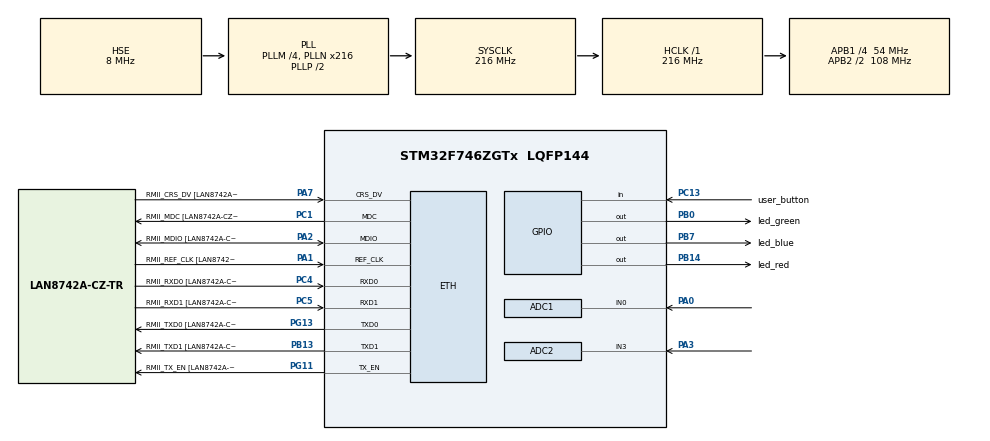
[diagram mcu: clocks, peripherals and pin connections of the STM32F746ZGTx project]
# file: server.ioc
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ADC1.Channel-0\#ChannelRegularConversion=ADC_CHANNEL_0
ADC1.NbrOfConversionFlag=1
ADC1.Rank-0\#ChannelRegularConversion=1
ADC1.SamplingTime-0\#ChannelRegularConversion=ADC_SAMPLETIME_3CYCLES
ADC1.master=1
ADC2.Channel-0\#ChannelRegularConversion=ADC_CHANNEL_3
ADC2.NbrOfConversionFlag=1
ADC2.Rank-0\#ChannelRegularConversion=1
ADC2.SamplingTime-0\#ChannelRegularConversion=ADC_SAMPLETIME_3CYCLES
CORTEX_M7.CPU_DCache=Enabled
CORTEX_M7.CPU_ICache=Enabled
CORTEX_M7.PREFETCH_ENABLE=1
ETH.MediaInterface=HAL_ETH_RMII_MODE
ETH.PHY_Name=LAN8742A_PHY_ADDRESS
ETH.PHY_Value=0
ETH.PhyAddress=0
LWIP.BSP.number=1
LWIP.GATEWAY_ADDRESS=192.168.001.001
LWIP.IP_ADDRESS=192.168.001.237
LWIP.LWIP_DHCP=0
LWIP.MEM_SIZE=10240
LWIP.NETMASK_ADDRESS=255.255.255.000
LWIP.Version=v2.1.2_Cube
LWIP0.BSP.STBoard=false
LWIP0.BSP.api=BSP_COMPONENT_DRIVER
LWIP0.BSP.component=LAN8742
LWIP0.BSP.instance=LAN8742
LWIP0.BSP.name=Driver_PHY
LWIP0.BSP.semaphore=S_LAN8742
LWIP0.BSP.solution=LAN8742
Mcu.Family=STM32F7
Mcu.Name=STM32F746ZGTx
Mcu.Package=LQFP144
NVIC.ETH_IRQn=true\:0\:0\:false\:false\:true\:true\:true\:true
NVIC.PriorityGroup=NVIC_PRIORITYGROUP_4
PA0/WKUP.Signal=ADCx_IN0
PA1.GPIO_Label=RMII_REF_CLK [LAN8742A-CZ-TR_REFCLK0]
PA1.Mode=RMII
PA1.Signal=ETH_REF_CLK
PA13.GPIO_Label=TMS
PA13.Mode=Serial_Wire
PA13.Signal=SYS_JTMS-SWDIO
PA14.GPIO_Label=TCK
PA14.Mode=Serial_Wire
PA14.Signal=SYS_JTCK-SWCLK
PA2.GPIO_Label=RMII_MDIO [LAN8742A-CZ-TR_MDIO]
PA2.Mode=RMII
PA2.Signal=ETH_MDIO
PA3.Signal=ADCx_IN3
PA7.GPIO_Label=RMII_CRS_DV [LAN8742A-CZ-TR_CRS_DV]
PA7.Mode=RMII
PA7.Signal=ETH_CRS_DV
PB0.GPIO_Label=led_green
PB0.Signal=GPIO_Output
PB13.GPIO_Label=RMII_TXD1 [LAN8742A-CZ-TR_TXD1]
PB13.Mode=RMII
PB13.Signal=ETH_TXD1
PB14.GPIO_Label=led_red
PB14.Signal=GPIO_Output
PB3.GPIO_Label=SW0
PB3.Signal=SYS_JTDO-SWO
PB7.GPIO_Label=led_blue
PB7.Signal=GPIO_Output
PC1.GPIO_Label=RMII_MDC [LAN8742A-CZ-TR_MDC]
PC1.Mode=RMII
PC1.Signal=ETH_MDC
PC13.GPIO_Label=user_button
PC13.Signal=GPIO_Input
PC14/OSC32_IN.Mode=LSE-External-Oscillator
PC14/OSC32_IN.Signal=RCC_OSC32_IN
PC15/OSC32_OUT.Mode=LSE-External-Oscillator
PC15/OSC32_OUT.Signal=RCC_OSC32_OUT
PC4.GPIO_Label=RMII_RXD0 [LAN8742A-CZ-TR_RXD0]
PC4.Mode=RMII
PC4.Signal=ETH_RXD0
PC5.GPIO_Label=RMII_RXD1 [LAN8742A-CZ-TR_RXD1]
PC5.Mode=RMII
PC5.Signal=ETH_RXD1
PG11.GPIO_Label=RMII_TX_EN [LAN8742A-CZ-TR_TXEN]
PG11.Mode=RMII
PG11.Signal=ETH_TX_EN
PG13.GPIO_Label=RMII_TXD0 [LAN8742A-CZ-TR_TXD0]
PG13.Mode=RMII
PG13.Signal=ETH_TXD0
PH0/OSC_IN.GPIO_Label=MCO [STM32F103CBT6_PA8]
PH0/OSC_IN.Mode=HSE-External-Clock-Source
PH0/OSC_IN.Signal=RCC_OSC_IN
PH1/OSC_OUT.Mode=HSE-External-Clock-Source
PH1/OSC_OUT.Signal=RCC_OSC_OUT
ProjectManager.HeapSize=0x200
ProjectManager.StackSize=0x400
ProjectManager.TargetToolchain=STM32CubeIDE
RCC.48MHZClocksFreq_Value=24000000
RCC.AHBFreq_Value=216000000
RCC.APB1CLKDivider=RCC_HCLK_DIV4
RCC.APB1Freq_Value=54000000
RCC.APB1TimFreq_Value=108000000
RCC.APB2CLKDivider=RCC_HCLK_DIV2
RCC.APB2Freq_Value=108000000
RCC.APB2TimFreq_Value=216000000
RCC.CortexFreq_Value=216000000
RCC.HCLKFreq_Value=216000000
RCC.HSE_VALUE=8000000
RCC.HSI_VALUE=16000000
RCC.PLLM=4
RCC.PLLMUL=RCC_PLL_MUL9
RCC.PLLN=216
RCC.PLLQ=3
RCC.PLLSourceVirtual=RCC_PLLSOURCE_HSE
RCC.PRESCALERUSB=RCC_USBCLKSOURCE_PLL_DIV1_5
RCC.SYSCLKFreq_VALUE=216000000
RCC.SYSCLKSource=RCC_SYSCLKSOURCE_PLLCLK
RCC.SYSCLKSourceVirtual=RCC_SYSCLKSOURCE_PLLCLK
RCC.USBFreq_Value=144000000
RCC.VCOOutputFreq_Value=432000000
SH.ADCx_IN0.0=ADC1_IN0,IN0
SH.ADCx_IN3.0=ADC2_IN3,IN3
VP_LWIP_VS_Enabled.Mode=Enabled
board=NUCLEO-F746ZG

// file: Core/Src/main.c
/* USER CODE BEGIN Header */
/**
  ******************************************************************************
  * @file           : main.c
  * @brief          : Main program body
  ******************************************************************************
  * @attention
  *
  * <h2><center>&copy; Copyright (c) 2022 STMicroelectronics.
  * All rights reserved.</center></h2>
  *
  * This software component is licensed by ST under BSD 3-Clause license,
  * the "License"; You may not use this file except in compliance with the
  * License. You may obtain a copy of the License at:
  *                        opensource.org/licenses/BSD-3-Clause
  *
  ******************************************************************************
  */
/* USER CODE END Header */
#include "main.h"
#include "lwip.h"

/* USER CODE BEGIN Includes */

#include "controller_server.h"
#include <assert.h>
#include <string.h>
#include "pages/page0.h"
#include "pages/page1.h"
#include "pages/page2.h"
#include "pages/page3.h"

/* USER CODE END Includes */

ADC_HandleTypeDef hadc1;
ADC_HandleTypeDef hadc2;

void SystemClock_Config(void);
static void MX_GPIO_Init(void);
static void MX_ADC1_Init(void);
static void MX_ADC2_Init(void);

/* USER CODE BEGIN 0 */

void update_values( void )
{
	values3[ 1 ].value.int_val = HAL_GPIO_ReadPin( user_button_GPIO_Port, user_button_Pin );

	uint32_t value;

	HAL_ADC_Start( &hadc1 );
	HAL_ADC_PollForConversion( &hadc1, 10 );
	value = HAL_ADC_GetValue( &hadc1 );
	HAL_ADC_Stop( &hadc1 );
	values3[ 2 ].value.float_val = (float)value / (float)( 1 << 12 ) * 3.3f;

	HAL_ADC_Start( &hadc2 );
	HAL_ADC_PollForConversion( &hadc2, 10 );
	value = HAL_ADC_GetValue( &hadc2 );
	HAL_ADC_Stop( &hadc2 );
	values3[ 3 ].value.float_val = (float)value / (float)( 1 << 12 ) * 3.3f;
}

/* USER CODE END 0 */

int main(void)
{

  /* Enable I-Cache---------------------------------------------------------*/
  SCB_EnableICache();

  /* Enable D-Cache---------------------------------------------------------*/
  SCB_EnableDCache();

  /* MCU Configuration--------------------------------------------------------*/

  /* Reset of all peripherals, Initializes the Flash interface and the Systick. */
  HAL_Init();

  /* Configure the system clock */
  SystemClock_Config();

  /* Initialize all configured peripherals */
  MX_GPIO_Init();
  MX_LWIP_Init();
  MX_ADC1_Init();
  MX_ADC2_Init();
  /* USER CODE BEGIN 2 */

  server_init();

  register_idle_callback( update_values );

  add_page( page0, values0, 4, page0_callback );
  add_page( page1, values1, 4, page1_callback );
  add_page( page2, values2, 4, page2_callback );
  add_page( page3, values3, 4, page3_callback );

  mainloop();

  /* USER CODE END 2 */

  /* Infinite loop */
  while (1)
  {

  }
}

void SystemClock_Config(void)
{
  RCC_OscInitTypeDef RCC_OscInitStruct = {0};
  RCC_ClkInitTypeDef RCC_ClkInitStruct = {0};

  /** Configure LSE Drive Capability
  */
  HAL_PWR_EnableBkUpAccess();

  /** Configure the main internal regulator output voltage
  */
  __HAL_RCC_PWR_CLK_ENABLE();
  __HAL_PWR_VOLTAGESCALING_CONFIG(PWR_REGULATOR_VOLTAGE_SCALE1);

  /** Initializes the RCC Oscillators according to the specified parameters
  * in the RCC_OscInitTypeDef structure.
  */
  RCC_OscInitStruct.OscillatorType = RCC_OSCILLATORTYPE_HSE;
  RCC_OscInitStruct.HSEState = RCC_HSE_BYPASS;
  RCC_OscInitStruct.PLL.PLLState = RCC_PLL_ON;
  RCC_OscInitStruct.PLL.PLLSource = RCC_PLLSOURCE_HSE;
  RCC_OscInitStruct.PLL.PLLM = 4;
  RCC_OscInitStruct.PLL.PLLN = 216;
  RCC_OscInitStruct.PLL.PLLP = RCC_PLLP_DIV2;
  RCC_OscInitStruct.PLL.PLLQ = 3;
  if (HAL_RCC_OscConfig(&RCC_OscInitStruct) != HAL_OK)
  {
    Error_Handler();
  }

  /** Activate the Over-Drive mode
  */
  if (HAL_PWREx_EnableOverDrive() != HAL_OK)
  {
    Error_Handler();
  }

  /** Initializes the CPU, AHB and APB buses clocks
  */
  RCC_ClkInitStruct.ClockType = RCC_CLOCKTYPE_HCLK|RCC_CLOCKTYPE_SYSCLK
                              |RCC_CLOCKTYPE_PCLK1|RCC_CLOCKTYPE_PCLK2;
  RCC_ClkInitStruct.SYSCLKSource = RCC_SYSCLKSOURCE_PLLCLK;
  RCC_ClkInitStruct.AHBCLKDivider = RCC_SYSCLK_DIV1;
  RCC_ClkInitStruct.APB1CLKDivider = RCC_HCLK_DIV4;
  RCC_ClkInitStruct.APB2CLKDivider = RCC_HCLK_DIV2;

  if (HAL_RCC_ClockConfig(&RCC_ClkInitStruct, FLASH_LATENCY_7) != HAL_OK)
  {
    Error_Handler();
  }
}

static void MX_ADC1_Init(void)
{

  ADC_ChannelConfTypeDef sConfig = {0};

  /** Configure the global features of the ADC (Clock, Resolution, Data Alignment and number of conversion)
  */
  hadc1.Instance = ADC1;
  hadc1.Init.ClockPrescaler = ADC_CLOCK_SYNC_PCLK_DIV4;
  hadc1.Init.Resolution = ADC_RESOLUTION_12B;
  hadc1.Init.ScanConvMode = ADC_SCAN_DISABLE;
  hadc1.Init.ContinuousConvMode = DISABLE;
  hadc1.Init.DiscontinuousConvMode = DISABLE;
  hadc1.Init.ExternalTrigConvEdge = ADC_EXTERNALTRIGCONVEDGE_NONE;
  hadc1.Init.ExternalTrigConv = ADC_SOFTWARE_START;
  hadc1.Init.DataAlign = ADC_DATAALIGN_RIGHT;
  hadc1.Init.NbrOfConversion = 1;
  hadc1.Init.DMAContinuousRequests = DISABLE;
  hadc1.Init.EOCSelection = ADC_EOC_SINGLE_CONV;
  if (HAL_ADC_Init(&hadc1) != HAL_OK)
  {
    Error_Handler();
  }

  /** Configure for the selected ADC regular channel its corresponding rank in the sequencer and its sample time.
  */
  sConfig.Channel = ADC_CHANNEL_0;
  sConfig.Rank = ADC_REGULAR_RANK_1;
  sConfig.SamplingTime = ADC_SAMPLETIME_3CYCLES;
  if (HAL_ADC_ConfigChannel(&hadc1, &sConfig) != HAL_OK)
  {
    Error_Handler();
  }

}

static void MX_ADC2_Init(void)
{

  ADC_ChannelConfTypeDef sConfig = {0};

  /** Configure the global features of the ADC (Clock, Resolution, Data Alignment and number of conversion)
  */
  hadc2.Instance = ADC2;
  hadc2.Init.ClockPrescaler = ADC_CLOCK_SYNC_PCLK_DIV4;
  hadc2.Init.Resolution = ADC_RESOLUTION_12B;
  hadc2.Init.ScanConvMode = ADC_SCAN_DISABLE;
  hadc2.Init.ContinuousConvMode = DISABLE;
  hadc2.Init.DiscontinuousConvMode = DISABLE;
  hadc2.Init.ExternalTrigConvEdge = ADC_EXTERNALTRIGCONVEDGE_NONE;
  hadc2.Init.ExternalTrigConv = ADC_SOFTWARE_START;
  hadc2.Init.DataAlign = ADC_DATAALIGN_RIGHT;
  hadc2.Init.NbrOfConversion = 1;
  hadc2.Init.DMAContinuousRequests = DISABLE;
  hadc2.Init.EOCSelection = ADC_EOC_SINGLE_CONV;
  if (HAL_ADC_Init(&hadc2) != HAL_OK)
  {
    Error_Handler();
  }

  /** Configure for the selected ADC regular channel its corresponding rank in the sequencer and its sample time.
  */
  sConfig.Channel = ADC_CHANNEL_3;
  sConfig.Rank = ADC_REGULAR_RANK_1;
  sConfig.SamplingTime = ADC_SAMPLETIME_3CYCLES;
  if (HAL_ADC_ConfigChannel(&hadc2, &sConfig) != HAL_OK)
  {
    Error_Handler();
  }

}

static void MX_GPIO_Init(void)
{
  GPIO_InitTypeDef GPIO_InitStruct = {0};

  /* GPIO Ports Clock Enable */
  __HAL_RCC_GPIOC_CLK_ENABLE();
  __HAL_RCC_GPIOH_CLK_ENABLE();
  __HAL_RCC_GPIOA_CLK_ENABLE();
  __HAL_RCC_GPIOB_CLK_ENABLE();
  __HAL_RCC_GPIOG_CLK_ENABLE();

  /*Configure GPIO pin Output Level */
  HAL_GPIO_WritePin(GPIOB, led_green_Pin|led_red_Pin|led_blue_Pin, GPIO_PIN_RESET);

  /*Configure GPIO pin : user_button_Pin */
  GPIO_InitStruct.Pin = user_button_Pin;
  GPIO_InitStruct.Mode = GPIO_MODE_INPUT;
  GPIO_InitStruct.Pull = GPIO_NOPULL;
  HAL_GPIO_Init(user_button_GPIO_Port, &GPIO_InitStruct);

  /*Configure GPIO pins : led_green_Pin led_red_Pin led_blue_Pin */
  GPIO_InitStruct.Pin = led_green_Pin|led_red_Pin|led_blue_Pin;
  GPIO_InitStruct.Mode = GPIO_MODE_OUTPUT_PP;
  GPIO_InitStruct.Pull = GPIO_NOPULL;
  GPIO_InitStruct.Speed = GPIO_SPEED_FREQ_LOW;
  HAL_GPIO_Init(GPIOB, &GPIO_InitStruct);

}

void Error_Handler(void)
{
  __disable_irq();
  while (1)
  {
  }
}
